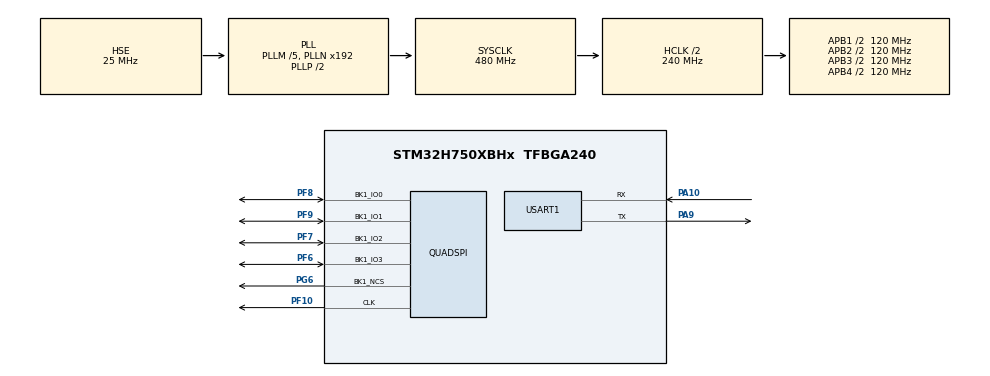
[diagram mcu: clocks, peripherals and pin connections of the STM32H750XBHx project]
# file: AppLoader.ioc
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CORTEX_M7.AccessPermission_S-Cortex_Memory_Protection_Unit_Region1_Settings_S=MPU_REGION_FULL_ACCESS
CORTEX_M7.AccessPermission_Spec=MPU_REGION_FULL_ACCESS
CORTEX_M7.BaseAddress_S-Cortex_Memory_Protection_Unit_Region1_Settings_S=0x24000000
CORTEX_M7.BaseAddress_Spec=0x20000000
CORTEX_M7.CPU_DCache=Enabled
CORTEX_M7.CPU_ICache=Enabled
CORTEX_M7.DisableExec_Spec=MPU_INSTRUCTION_ACCESS_ENABLE
CORTEX_M7.Enable_S-Cortex_Memory_Protection_Unit_Region1_Settings_S=MPU_REGION_ENABLE
CORTEX_M7.IsCacheable_S-Cortex_Memory_Protection_Unit_Region1_Settings_S=MPU_ACCESS_CACHEABLE
CORTEX_M7.IsCacheable_Spec=MPU_ACCESS_CACHEABLE
CORTEX_M7.IsShareable_Spec=MPU_ACCESS_NOT_SHAREABLE
CORTEX_M7.Size_S-Cortex_Memory_Protection_Unit_Region1_Settings_S=MPU_REGION_SIZE_512KB
CORTEX_M7.Size_Spec=MPU_REGION_SIZE_128KB
CORTEX_M7.SubRegionDisable_Spec=0x00
CORTEX_M7.default_mode_Activation=1
Mcu.Family=STM32H7
Mcu.Name=STM32H750XBHx
Mcu.Package=TFBGA240
NVIC.PriorityGroup=NVIC_PRIORITYGROUP_4
NVIC.USART1_IRQn=true\:5\:0\:true\:false\:true\:true\:true\:true
PA10.GPIO_Speed=GPIO_SPEED_FREQ_VERY_HIGH
PA10.Mode=Asynchronous
PA10.Signal=USART1_RX
PA9.GPIO_Speed=GPIO_SPEED_FREQ_VERY_HIGH
PA9.Mode=Asynchronous
PA9.Signal=USART1_TX
PC14-OSC32_IN\ (OSC32_IN).Mode=LSE-External-Oscillator
PC14-OSC32_IN\ (OSC32_IN).Signal=RCC_OSC32_IN
PC15-OSC32_OUT\ (OSC32_OUT).Mode=LSE-External-Oscillator
PC15-OSC32_OUT\ (OSC32_OUT).Signal=RCC_OSC32_OUT
PF10.GPIO_Speed=GPIO_SPEED_FREQ_VERY_HIGH
PF10.Mode=Single Bank 1
PF10.Signal=QUADSPI_CLK
PF6.GPIO_Speed=GPIO_SPEED_FREQ_VERY_HIGH
PF6.Mode=Single Bank 1
PF6.Signal=QUADSPI_BK1_IO3
PF7.GPIO_Speed=GPIO_SPEED_FREQ_VERY_HIGH
PF7.Mode=Single Bank 1
PF7.Signal=QUADSPI_BK1_IO2
PF8.GPIO_Speed=GPIO_SPEED_FREQ_VERY_HIGH
PF8.Mode=Single Bank 1
PF8.Signal=QUADSPI_BK1_IO0
PF9.GPIO_Speed=GPIO_SPEED_FREQ_VERY_HIGH
PF9.Mode=Single Bank 1
PF9.Signal=QUADSPI_BK1_IO1
PG6.GPIO_Speed=GPIO_SPEED_FREQ_VERY_HIGH
PG6.Mode=Single Bank 1
PG6.Signal=QUADSPI_BK1_NCS
PH0-OSC_IN\ (PH0).Mode=HSE-External-Oscillator
PH0-OSC_IN\ (PH0).Signal=RCC_OSC_IN
PH1-OSC_OUT\ (PH1).Mode=HSE-External-Oscillator
PH1-OSC_OUT\ (PH1).Signal=RCC_OSC_OUT
ProjectManager.HeapSize=0x200
ProjectManager.StackSize=0x400
ProjectManager.TargetToolchain=CMake
QUADSPI.ClockMode=QSPI_CLOCK_MODE_3
QUADSPI.ClockPrescaler=1
QUADSPI.FifoThreshold=32
QUADSPI.FlashSize=24
QUADSPI.SampleShifting=QSPI_SAMPLE_SHIFTING_HALFCYCLE
RCC.ADCFreq_Value=50000000
RCC.APB1Freq_Value=120000000
RCC.APB2Freq_Value=120000000
RCC.APB3Freq_Value=120000000
RCC.APB4Freq_Value=120000000
RCC.CortexFreq_Value=480000000
RCC.D1PPRE=RCC_APB3_DIV2
RCC.D2PPRE1=RCC_APB1_DIV2
RCC.D2PPRE2=RCC_APB2_DIV2
RCC.D3PPRE=RCC_APB4_DIV2
RCC.DIVM1=5
RCC.DIVN1=192
RCC.DIVN2=128
RCC.DIVN3=128
RCC.HCLKFreq_Value=240000000
RCC.HPRE=RCC_HCLK_DIV2
RCC.PLLSourceVirtual=RCC_PLLSOURCE_HSE
RCC.SYSCLKFreq_VALUE=480000000
RCC.SYSCLKSource=RCC_SYSCLKSOURCE_PLLCLK
RCC.USBFreq_Value=480000000
USART1.VirtualMode-Asynchronous=VM_ASYNC
VP_MEMORYMAP_VS_MEMORYMAP.Mode=CurAppReg
board=custom

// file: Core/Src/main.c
/* USER CODE BEGIN Header */
/**
  ******************************************************************************
  * @file           : main.c
  * @brief          : Main program body
  ******************************************************************************
  * @attention
  *
  * Copyright (c) 2025 STMicroelectronics.
  * All rights reserved.
  *
  * This software is licensed under terms that can be found in the LICENSE file
  * in the root directory of this software component.
  * If no LICENSE file comes with this software, it is provided AS-IS.
  *
  ******************************************************************************
  */
  /*
   __  __          _     _            _                _                    _
   \ \/ /   _  ___| |   (_)_ __      / \   _ __  _ __ | |    ___   __ _  __| | ___ _ __
    \  / | | |/ _ \ |   | | '_ \    / _ \ | '_ \| '_ \| |   / _ \ / _` |/ _` |/ _ \ '__|
    /  \ |_| |  __/ |___| | | | |  / ___ \| |_) | |_) | |__| (_) | (_| | (_| |  __/ |
   /_/\_\__,_|\___|_____|_|_| |_| /_/   \_\ .__/| .__/|_____\___/ \__,_|\__,_|\___|_|
                                          |_|   |_|
  */
/* USER CODE END Header */
#include "main.h"
#include "quadspi.h"
#include "usart.h"
#include "gpio.h"

/* USER CODE BEGIN Includes */
#include <stdio.h>
#include <sys/_intsup.h>
/* USER CODE END Includes */

/* USER CODE BEGIN PD */
#define APP_VALID 0
#define APP_INVALID 1
// #define RX_DATA_SIZE 16
#define QSPI_APP_ADDRESS W25Qxx_Mem_Addr
/* USER CODE END PD */

/* USER CODE BEGIN PV */
uint32_t QSPI_Status = 0;
uint32_t Device_ID;	    // Flash ID
const char ver[] = "0.1.0.10";
// uint8_t ReceiveData[RX_DATA_SIZE] = {0};
/* USER CODE END PV */

void SystemClock_Config(void);
static void MPU_Config(void);
/* USER CODE BEGIN PFP */
uint8_t Validate_Stack_Pointer(uint32_t stack_pointer);
uint8_t Validate_Application(void);
void JumpToApplication(void);
/* USER CODE END PFP */

/* USER CODE BEGIN 0 */
void Print_LOGO(void)
{
  printf("\r\n\033[36m");
  printf(" __  __          _     _            _                _                    _           \n");
  printf(" \\ \\/ /   _  ___| |   (_)_ __      / \\   _ __  _ __ | |    ___   __ _  __| | ___ _ __ \n");
  printf("  \\  / | | |/ _ \\ |   | | '_ \\    / _ \\ | '_ \\| '_ \\| |   / _ \\ / _` |/ _` |/ _ \\ '__|\n");
  printf("  /  \\ |_| |  __/ |___| | | | |  / ___ \\| |_) | |_) | |__| (_) | (_| | (_| |  __/ |   \n");
  printf(" /_/\\_\\__,_|\\___|_____|_|_| |_| /_/   \\_\\ .__/| .__/|_____\\___/ \\__,_|\\__,_|\\___|_|   \n");
  printf("                                        |_|   |_|                                     \n");
  printf("\033[0m");
}
/* USER CODE END 0 */

int main(void)
{

  /* MPU Configuration--------------------------------------------------------*/
  MPU_Config();

  /* Enable the CPU Cache */

  /* Enable I-Cache---------------------------------------------------------*/
  SCB_EnableICache();

  /* Enable D-Cache---------------------------------------------------------*/
  SCB_EnableDCache();

  /* MCU Configuration--------------------------------------------------------*/

  /* Reset of all peripherals, Initializes the Flash interface and the Systick. */
  HAL_Init();

  /* Configure the system clock */
  SystemClock_Config();

  /* Initialize all configured peripherals */
  MX_GPIO_Init();
  MX_QUADSPI_Init();
  MX_USART1_UART_Init();
  /* USER CODE BEGIN 2 */
  // HAL_UART_Receive_IT(&huart1, ReceiveData, RX_DATA_SIZE);

  printf("\033[36m========XueLin AppLoader========\n          version:%s\n\033[34mApplication base address:0x%x\033[0m\n", ver, QSPI_APP_ADDRESS);
  Print_LOGO();

	QSPI_W25Qxx_Reset();
	Device_ID = QSPI_W25Qxx_ReadID();
  if (Device_ID != W25Qxx_FLASH_ID)
  {
      printf("\033[31mFlash Error or Broken!\033[0m\n");
      return 0;
  }
  else {
    printf("\033[32mFlash OK!\033[0m\n");
    QSPI_Status = QSPI_W25Qxx_MemoryMappedMode();
    if (QSPI_Status != QSPI_W25Qxx_OK)
    {
      printf("\033[31mSet QSPI Flash to Memory Map mode has some problem!\nError Code: %ld\033[0m\n", QSPI_Status);
      return 0;
    }
    else {
      printf("\033[32mQPSI Flash set Memory Mode OK\033[0m\n");
      if(Validate_Application() != APP_VALID)
       {
        // 应用程序无效，可进入编程模式
        // Enter_Program_Mode();
        printf("\033[31mApp Invalid!\033[0m\n");
        return 0;
      }
      else {
        printf("\033[32mApp Vaild! Will run it!\033[0m\n");
        JumpToApplication();
      }

    }
  }

  /* USER CODE END 2 */

  /* Infinite loop */
  while (1)
  {

  }
}

void SystemClock_Config(void)
{
  RCC_OscInitTypeDef RCC_OscInitStruct = {0};
  RCC_ClkInitTypeDef RCC_ClkInitStruct = {0};

  /** Supply configuration update enable
  */
  HAL_PWREx_ConfigSupply(PWR_LDO_SUPPLY);

  /** Configure the main internal regulator output voltage
  */
  __HAL_PWR_VOLTAGESCALING_CONFIG(PWR_REGULATOR_VOLTAGE_SCALE0);

  while(!__HAL_PWR_GET_FLAG(PWR_FLAG_VOSRDY)) {}

  /** Initializes the RCC Oscillators according to the specified parameters
  * in the RCC_OscInitTypeDef structure.
  */
  RCC_OscInitStruct.OscillatorType = RCC_OSCILLATORTYPE_HSE;
  RCC_OscInitStruct.HSEState = RCC_HSE_ON;
  RCC_OscInitStruct.PLL.PLLState = RCC_PLL_ON;
  RCC_OscInitStruct.PLL.PLLSource = RCC_PLLSOURCE_HSE;
  RCC_OscInitStruct.PLL.PLLM = 5;
  RCC_OscInitStruct.PLL.PLLN = 192;
  RCC_OscInitStruct.PLL.PLLP = 2;
  RCC_OscInitStruct.PLL.PLLQ = 2;
  RCC_OscInitStruct.PLL.PLLR = 2;
  RCC_OscInitStruct.PLL.PLLRGE = RCC_PLL1VCIRANGE_2;
  RCC_OscInitStruct.PLL.PLLVCOSEL = RCC_PLL1VCOWIDE;
  RCC_OscInitStruct.PLL.PLLFRACN = 0;
  if (HAL_RCC_OscConfig(&RCC_OscInitStruct) != HAL_OK)
  {
    Error_Handler();
  }

  /** Initializes the CPU, AHB and APB buses clocks
  */
  RCC_ClkInitStruct.ClockType = RCC_CLOCKTYPE_HCLK|RCC_CLOCKTYPE_SYSCLK
                              |RCC_CLOCKTYPE_PCLK1|RCC_CLOCKTYPE_PCLK2
                              |RCC_CLOCKTYPE_D3PCLK1|RCC_CLOCKTYPE_D1PCLK1;
  RCC_ClkInitStruct.SYSCLKSource = RCC_SYSCLKSOURCE_PLLCLK;
  RCC_ClkInitStruct.SYSCLKDivider = RCC_SYSCLK_DIV1;
  RCC_ClkInitStruct.AHBCLKDivider = RCC_HCLK_DIV2;
  RCC_ClkInitStruct.APB3CLKDivider = RCC_APB3_DIV2;
  RCC_ClkInitStruct.APB1CLKDivider = RCC_APB1_DIV2;
  RCC_ClkInitStruct.APB2CLKDivider = RCC_APB2_DIV2;
  RCC_ClkInitStruct.APB4CLKDivider = RCC_APB4_DIV2;

  if (HAL_RCC_ClockConfig(&RCC_ClkInitStruct, FLASH_LATENCY_4) != HAL_OK)
  {
    Error_Handler();
  }
}

/* USER CODE BEGIN 4 */
/*校验应用程序栈指针*/
uint8_t Validate_Application(void)
{
    // // 检查应用程序起始地址的栈指针是否有效
    uint32_t* app_stack_ptr = (uint32_t*)QSPI_APP_ADDRESS;
    if (!Validate_Stack_Pointer(*app_stack_ptr))
    {
      printf("\033[31mInvalid stack pointer: 0x%lx\033[0m\n", *app_stack_ptr);
      return APP_INVALID;
    }

    // 检查复位向量是否在QSPI地址范围内
    uint32_t* app_reset_handler = (uint32_t*)(QSPI_APP_ADDRESS + 4);
    if((*app_reset_handler & 0xFF000000) != 0x90000000)
    {
        return APP_INVALID;
    }

    return APP_VALID;
}

/*校验堆栈指针范围*/
uint8_t Validate_Stack_Pointer(uint32_t stack_pointer)
{
    // 检查栈指针是否指向有效的RAM区域或特定保留区域
    // STM32H750的RAM区域包括：
    // - DTCM RAM: 0x20000000 - 0x2001FFFF (128KB)
    // - AXI SRAM: 0x24000000 - 0x2407FFFF (512KB)
    // - AHB SRAM: 0x30000000 - 0x30047FFF (288KB)
    // - AHB SRAM: 0x38000000 - 0x3800FFFF (64KB)
    // STM32H750的特定保留区域包括：
    // - Reseved0: 0x20002000 - 0x23FFFFFF
    // - Reseved1: 0x24080000 - 0x2FFFFFFF
    // - Reseved2: 0x30048000 - 0x37FFFFFF
    // - Reseved3: 0x38001000 - 0x387FFFFF

    if ((stack_pointer >= 0x20000000 && stack_pointer <= 0x2001FFFF) ||  // DTCM RAM
        (stack_pointer >= 0x20002000 && stack_pointer <= 0x23FFFFFF) ||  // Reseved0
        (stack_pointer >= 0x24000000 && stack_pointer <= 0x2407FFFF) ||  // AXI SRAM
        (stack_pointer >= 0x24080000 && stack_pointer <= 0x2FFFFFFF) ||  // Reseved1
        (stack_pointer >= 0x30000000 && stack_pointer <= 0x30047FFF) ||  // AHB SRAM
        (stack_pointer >= 0x30048000 && stack_pointer <= 0x37FFFFFF) ||  // Reseved2
        (stack_pointer >= 0x38000000 && stack_pointer <= 0x3800FFFF) ||  // AHB SRAM
        (stack_pointer >= 0x38001000 && stack_pointer <= 0x387FFFFF))    // Reseved3
    {
        return 1; // 有效
    }

    return 0; // 无效
}

/* 跳转到应用程序 */
void JumpToApplication(void)
{
    typedef void (*pFunction)(void);
    pFunction Jump_To_App;

    // 禁用所有中断
    __disable_irq();

    // 设置应用程序的向量表地址
    SCB->VTOR = QSPI_APP_ADDRESS;

    // 初始化应用程序的栈指针
    __set_MSP(*(__IO uint32_t*)QSPI_APP_ADDRESS);

    // 获取应用程序的复位处理函数地址
    Jump_To_App = (pFunction)(*(__IO uint32_t*)(QSPI_APP_ADDRESS + 4));

    // 跳转到应用程序
    Jump_To_App();
}

// void HAL_UART_RxCpltCallback(UART_HandleTypeDef *huart)
// {
//   if(huart->Instance == USART1)
//   {
//     QSPI_W25Qxx_WriteBuffer(ReceiveData, 0x00000000, RX_DATA_SIZE);
//     HAL_UART_Transmit(&huart1, ReceiveData, RX_DATA_SIZE, HAL_MAX_DELAY);
//     // memset(ReceiveData, 0x00, RX_DATA_SIZE);
//     HAL_UART_Receive_IT(&huart1, ReceiveData, RX_DATA_SIZE);
//   }
// }
/* USER CODE END 4 */

 /* MPU Configuration */

void MPU_Config(void)
{
  MPU_Region_InitTypeDef MPU_InitStruct = {0};

  /* Disables the MPU */
  HAL_MPU_Disable();

  /** Initializes and configures the Region and the memory to be protected
  */
  MPU_InitStruct.Enable = MPU_REGION_ENABLE;
  MPU_InitStruct.Number = MPU_REGION_NUMBER0;
  MPU_InitStruct.BaseAddress = 0x20000000;
  MPU_InitStruct.Size = MPU_REGION_SIZE_128KB;
  MPU_InitStruct.SubRegionDisable = 0x00;
  MPU_InitStruct.TypeExtField = MPU_TEX_LEVEL0;
  MPU_InitStruct.AccessPermission = MPU_REGION_FULL_ACCESS;
  MPU_InitStruct.DisableExec = MPU_INSTRUCTION_ACCESS_ENABLE;
  MPU_InitStruct.IsShareable = MPU_ACCESS_NOT_SHAREABLE;
  MPU_InitStruct.IsCacheable = MPU_ACCESS_CACHEABLE;
  MPU_InitStruct.IsBufferable = MPU_ACCESS_NOT_BUFFERABLE;

  HAL_MPU_ConfigRegion(&MPU_InitStruct);

  /** Initializes and configures the Region and the memory to be protected
  */
  MPU_InitStruct.Number = MPU_REGION_NUMBER1;
  MPU_InitStruct.BaseAddress = 0x24000000;
  MPU_InitStruct.Size = MPU_REGION_SIZE_512KB;
  MPU_InitStruct.SubRegionDisable = 0x0;

  HAL_MPU_ConfigRegion(&MPU_InitStruct);
  /* Enables the MPU */
  HAL_MPU_Enable(MPU_PRIVILEGED_DEFAULT);

}

void Error_Handler(void)
{
  __disable_irq();
  while (1)
  {
  }
}
